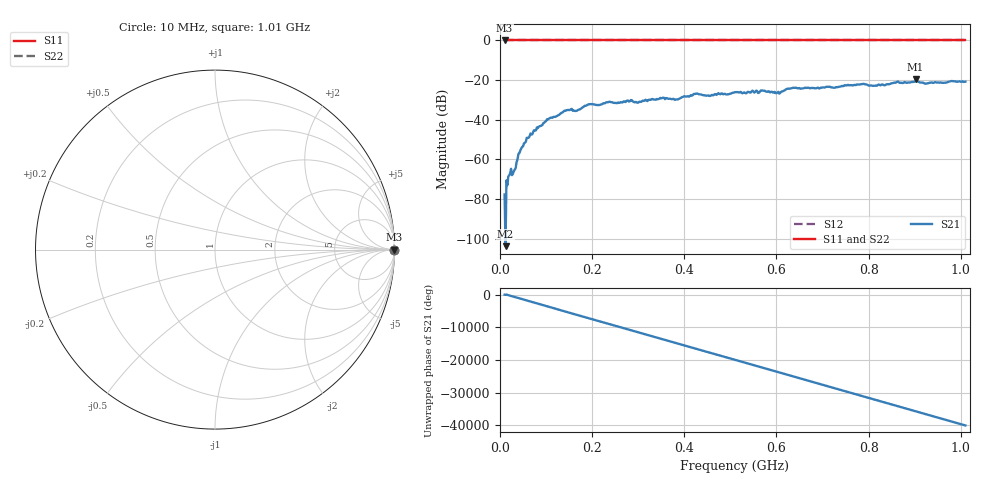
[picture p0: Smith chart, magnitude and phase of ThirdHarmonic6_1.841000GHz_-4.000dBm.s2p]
! 8/16/2025 10:17:00 PM
! C:\ANRITSUVNA\TEMP\TEMP.S2P
! CHANNEL.1
! TR.MEASUREMENT
! RAW.DATA
! RF.CORRECTION.OFF
! AVERAGING.OFF
! IF.BANDWIDTH: 5KHZ
! SWEEPTYPE:  FREQ.SWEEP(Linear)
! Reference Plane Port Info
! PORT:  PORT1  PORT2
! DISTANCE:  0  m  0  m
! TIME:  0  s  0  s
! PHASE.OFFSET:  0  deg.  0  deg.
! LOSS:  0  dB  0  dB
! REF.LOSS:  0  dB  0  dB
! REF.FREQ:  0  Hz  0  Hz
! Power Info
! POWER:  -20  dBm  -20  dBm
! EFF.POWER:  -20  dBm  -20  dBm
! SOURCE.ATTEN:  0  dB  0  dB
! TEST.ATTEN:  0  dB  0  dB
# GHZ S RI R 50.0
! FREQ.GHZ  S11RE  S11IM  S21RE  S21IM  S12RE  S12IM  S22RE  S22IM
!; PortSelection: Port_12
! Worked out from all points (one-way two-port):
!   501 points, 10 MHz to 1.01 GHz, reference 50 ohm
!   highest |S21| = -19.65 dB at 902 MHz (marker M1); lowest = -103.8 dB at 12 MHz (marker M2)
!   lowest |S11| = 0.0 dB at 10 MHz (marker M3)
!   |S11| at or under -10 dB: nowhere
!   |S22| runs from 0.0 to 0.0 dB; largest |S21 - S12| = 1.1
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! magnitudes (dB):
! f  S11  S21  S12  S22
! 10 MHz  0.0  -77.7  0.0  0.0
! 12 MHz  0.0  -103.8  0.0  0.0
! 20 MHz  0.0  -68.1  0.0  0.0
! 30 MHz  0.0  -66.0  0.0  0.0
! 44 MHz  0.0  -55.6  0.0  0.0
! 62 MHz  0.0  -49.1  0.0  0.0
! 106 MHz  0.0  -39.5  0.0  0.0
! 144 MHz  0.0  -35.2  0.0  0.0
! 178 MHz  0.0  -34.0  0.0  0.0
! 196 MHz  0.0  -32.1  0.0  0.0
! 344 MHz  0.0  -29.6  0.0  0.0
! 382 MHz  0.0  -29.7  0.0  0.0
! 424 MHz  0.0  -27.0  0.0  0.0
! 452 MHz  0.0  -27.7  0.0  0.0
! 510 MHz  0.0  -26.1  0.0  0.0
! 604 MHz  0.0  -25.9  0.0  0.0
! 634 MHz  0.0  -24.0  0.0  0.0
! 678 MHz  0.0  -24.0  0.0  0.0
! 844 MHz  0.0  -22.1  0.0  0.0
! 902 MHz  0.0  -19.6  0.0  0.0
! 924 MHz  0.0  -21.8  0.0  0.0
! 1.01 GHz  0.0  -20.8  0.0  0.0
